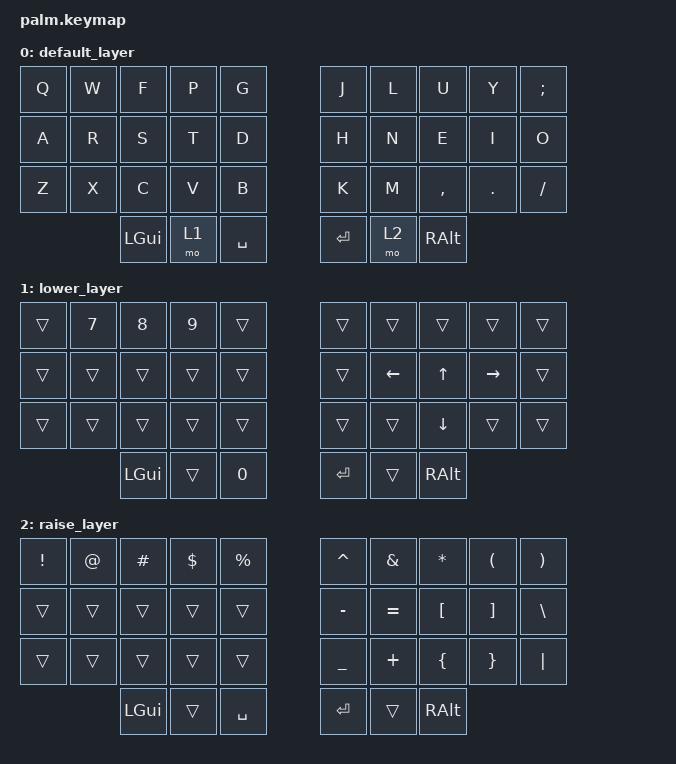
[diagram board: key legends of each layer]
/*
 * Copyright (c) 2020 The ZMK Contributors
 *
 * SPDX-License-Identifier: MIT
 */

#include <behaviors.dtsi>
#include <dt-bindings/zmk/keys.h>
#include <dt-bindings/zmk/bt.h>

/ {
    keymap {
        compatible = "zmk,keymap";

        default_layer {
            // -------------------------------------------------------------------
            // |  Q  |  W  |  F  |  P  |  G  |   |  J  |  L   |  U  |  Y  |  ;  |
            // |  A  |  R  |  S  |  T  |  D  |   |  H  |  N   |  E  |  I  |  O  |
            // |  Z  |  X  |  C  |  V  |  B  |   |  K  |  M   |  ,  |  .  |  /  |
            //             | GUI | LWR | SPC |   | ENT | RSE  | ALT |
            bindings = <
            &kp Q &kp W &kp F &kp P &kp G         &kp J &kp L &kp U     &kp Y   &kp SEMI        // &kp BSPC
            &kp A &kp R &kp S &kp T &kp D         &kp H &kp N &kp E     &kp I   &kp O           // &kp SQT
            &kp Z &kp X &kp C &kp V &kp B         &kp K &kp M &kp COMMA &kp DOT &kp FSLH        // &kp ESC
                    &kp LGUI &mo 1 &kp SPACE   &kp RET &mo 2 &kp RALT
            >;
        };
        
        lower_layer {
            // ------------------------------------------------------------------
            // |     |  7  |  8  |  9  |     |   |     |     |     |     |     |
            // |     |  4  |  5  |  6  |     |   |     | LFT |  UP | RGT |     |
            // |     |  1  |  2  |  3  |     |   |     |     | DWN |     |     |
            //             | GUI |     |  0  |   | ENT |     | ALT |
            bindings = <
            &trans  &kp N7  &kp N8  &kp N9  &trans         &trans  &trans  &trans  &trans  &trans
            &trans  &trans  &trans  &trans  &trans         &trans  &kp LEFT  &kp UP  &kp RIGHT  &trans
            &trans  &trans  &trans  &trans  &trans         &trans  &trans  &kp DOWN  &trans  &trans
                         &kp LGUI  &trans  &kp N0     &kp RET  &trans   &kp RALT
            >;
        };

        raise_layer {
            // ------------------------------------------------------------------
            // |  !  |  @  |  #  |  $  |  %  |   |  ^  |  &  |  *  |  (  |  )  |
            // |     |     |     |     |     |   |  -  |  =  |  [  |  ]  |  \  |
            // |     |     |     |     |     |   |  _  |  +  |  {  |  }  | "|" |
            //             | GUI |     | SPC |   | ENT |     | ALT |
            bindings = <
            &kp EXCL &kp AT &kp HASH &kp DLLR &kp PRCNT   &kp CARET &kp AMPS  &kp ASTRK &kp LPAR &kp RPAR
            &trans   &trans &trans   &trans   &trans      &kp MINUS &kp EQUAL &kp LBKT  &kp RBKT &kp BSLH
            &trans   &trans &trans   &trans   &trans      &kp UNDER &kp PLUS  &kp LBRC  &kp RBRC &kp PIPE
                            &kp LGUI &trans   &kp SPACE   &kp RET   &trans    &kp RALT
            >;
        };
    };
};
